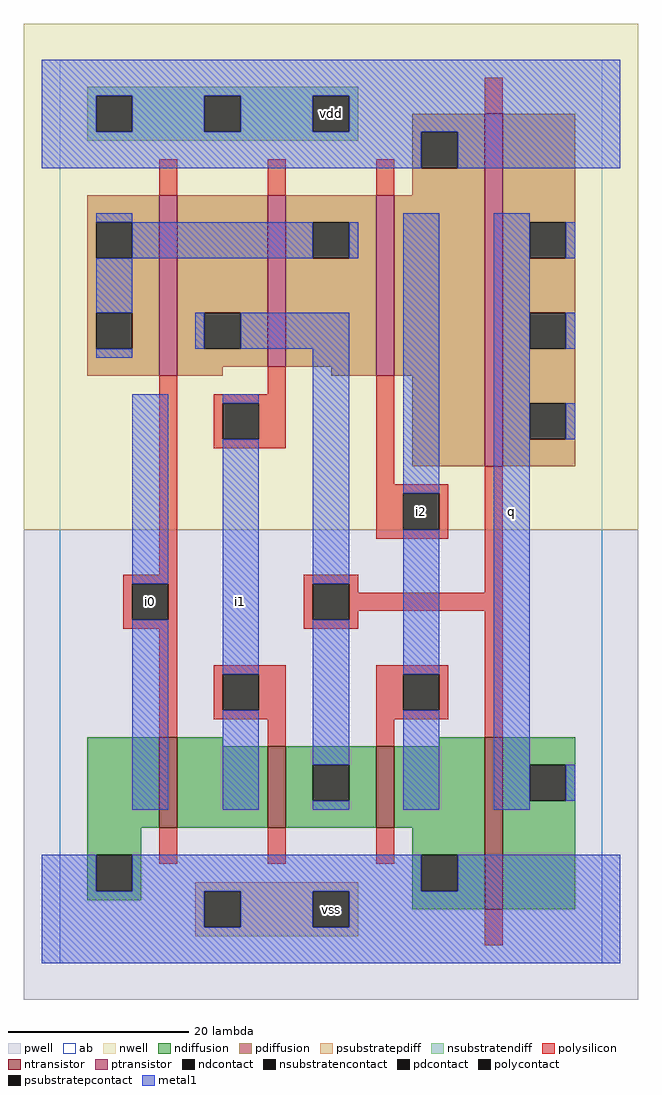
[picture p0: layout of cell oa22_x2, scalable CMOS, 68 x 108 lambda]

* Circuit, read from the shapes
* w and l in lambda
.subckt oa22_x2 i0 i1 i2 q vdd vss
M1 n1 i0 vss vss nfet w=10 l=2
M2 n2 i1 n1 vss nfet w=9 l=2
M3 vss i2 n2 vss nfet w=9 l=2
M4 q n2 vss vss nfet w=19 l=2
M5 n2 i0 n3 vdd pfet w=20 l=2
M6 n3 i1 n2 vdd pfet w=19 l=2
M7 vdd i2 n3 vdd pfet w=20 l=2
M8 q n2 vdd vdd pfet w=39 l=2
.ends

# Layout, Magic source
magic
tech scmos
<< ab >>
rect 0 0 60 100
<< pwell >>
rect -4 -4 64 48
<< nwell >>
rect -4 48 64 104
<< polysilicon >>
rect 47 94 49 98
rect 11 85 13 89
rect 23 85 25 89
rect 35 85 37 89
rect 11 43 13 65
rect 23 63 25 66
rect 17 62 25 63
rect 17 58 18 62
rect 22 58 25 62
rect 17 57 25 58
rect 35 53 37 65
rect 35 52 43 53
rect 35 48 38 52
rect 42 48 43 52
rect 35 47 43 48
rect 7 42 13 43
rect 7 38 8 42
rect 12 38 13 42
rect 7 37 13 38
rect 27 42 33 43
rect 27 38 28 42
rect 32 41 33 42
rect 47 41 49 55
rect 32 39 49 41
rect 32 38 33 39
rect 27 37 33 38
rect 11 25 13 37
rect 17 32 25 33
rect 17 28 18 32
rect 22 28 25 32
rect 17 27 25 28
rect 23 24 25 27
rect 35 32 43 33
rect 35 28 38 32
rect 42 28 43 32
rect 35 27 43 28
rect 35 24 37 27
rect 47 25 49 39
rect 11 11 13 15
rect 23 11 25 15
rect 35 11 37 15
rect 47 2 49 6
<< ndiffusion >>
rect 3 15 11 25
rect 13 24 18 25
rect 42 24 47 25
rect 13 15 23 24
rect 25 22 35 24
rect 25 18 28 22
rect 32 18 35 22
rect 25 15 35 18
rect 37 15 47 24
rect 3 12 9 15
rect 3 8 4 12
rect 8 8 9 12
rect 39 12 47 15
rect 3 7 9 8
rect 39 8 40 12
rect 44 8 47 12
rect 39 6 47 8
rect 49 22 57 25
rect 49 18 52 22
rect 56 18 57 22
rect 49 6 57 18
<< pdiffusion >>
rect 39 92 47 94
rect 39 88 40 92
rect 44 88 47 92
rect 39 85 47 88
rect 3 82 11 85
rect 3 78 4 82
rect 8 78 11 82
rect 3 72 11 78
rect 3 68 4 72
rect 8 68 11 72
rect 3 65 11 68
rect 13 72 23 85
rect 13 68 16 72
rect 20 68 23 72
rect 13 66 23 68
rect 25 82 35 85
rect 25 78 28 82
rect 32 78 35 82
rect 25 66 35 78
rect 13 65 18 66
rect 30 65 35 66
rect 37 65 47 85
rect 39 55 47 65
rect 49 82 57 94
rect 49 78 52 82
rect 56 78 57 82
rect 49 72 57 78
rect 49 68 52 72
rect 56 68 57 72
rect 49 62 57 68
rect 49 58 52 62
rect 56 58 57 62
rect 49 55 57 58
<< metal1 >>
rect -2 96 62 100
rect -2 92 4 96
rect 8 92 16 96
rect 20 92 28 96
rect 32 92 62 96
rect -2 88 40 92
rect 44 88 62 92
rect 4 82 8 83
rect 8 78 28 82
rect 32 78 33 82
rect 4 72 8 78
rect 15 68 16 72
rect 20 68 32 72
rect 4 67 8 68
rect 8 42 12 63
rect 8 17 12 38
rect 18 62 22 63
rect 18 32 22 58
rect 18 17 22 28
rect 28 42 32 68
rect 28 22 32 38
rect 28 17 32 18
rect 38 52 42 83
rect 38 32 42 48
rect 38 17 42 28
rect 48 17 52 83
rect 56 78 57 82
rect 56 68 57 72
rect 56 58 57 62
rect 56 18 57 22
rect -2 8 4 12
rect 8 8 40 12
rect 44 8 62 12
rect -2 4 16 8
rect 20 4 28 8
rect 32 4 62 8
rect -2 0 62 4
<< ntransistor >>
rect 11 15 13 25
rect 23 15 25 24
rect 35 15 37 24
rect 47 6 49 25
<< ptransistor >>
rect 11 65 13 85
rect 23 66 25 85
rect 35 65 37 85
rect 47 55 49 94
<< polycontact >>
rect 18 58 22 62
rect 38 48 42 52
rect 8 38 12 42
rect 28 38 32 42
rect 18 28 22 32
rect 38 28 42 32
<< ndcontact >>
rect 28 18 32 22
rect 4 8 8 12
rect 40 8 44 12
rect 52 18 56 22
<< pdcontact >>
rect 40 88 44 92
rect 4 78 8 82
rect 4 68 8 72
rect 16 68 20 72
rect 28 78 32 82
rect 52 78 56 82
rect 52 68 56 72
rect 52 58 56 62
<< psubstratepcontact >>
rect 16 4 20 8
rect 28 4 32 8
<< nsubstratencontact >>
rect 4 92 8 96
rect 16 92 20 96
rect 28 92 32 96
<< psubstratepdiff >>
rect 15 8 33 9
rect 15 4 16 8
rect 20 4 28 8
rect 32 4 33 8
rect 15 3 33 4
<< nsubstratendiff >>
rect 3 96 33 97
rect 3 92 4 96
rect 8 92 16 96
rect 20 92 28 96
rect 32 92 33 96
rect 3 91 33 92
<< labels >>
rlabel polycontact 10 40 10 40 6 i0
rlabel metal1 20 40 20 40 6 i1
rlabel psubstratepcontact 30 6 30 6 6 vss
rlabel polycontact 40 50 40 50 6 i2
rlabel nsubstratencontact 30 94 30 94 6 vdd
rlabel metal1 50 50 50 50 6 q
<< end >>
